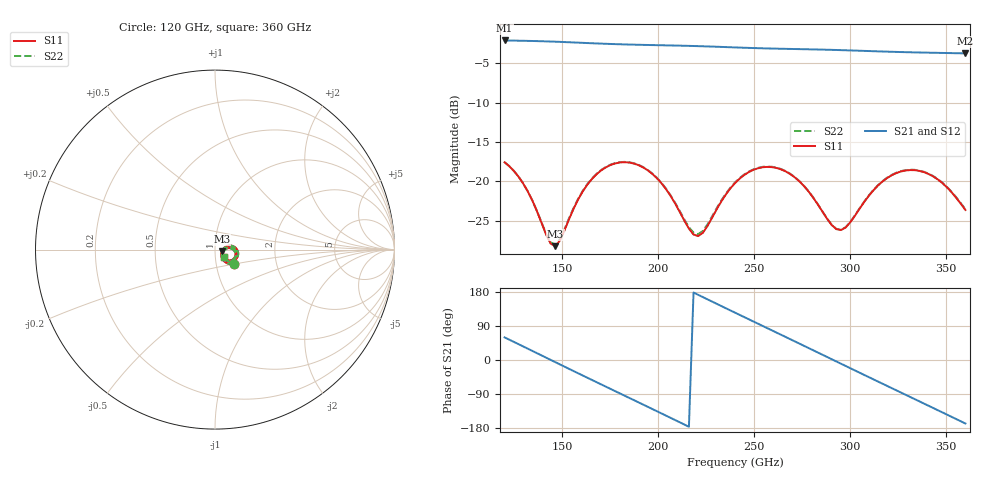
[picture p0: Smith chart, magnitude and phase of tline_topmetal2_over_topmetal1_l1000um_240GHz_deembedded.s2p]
! Created with skrf 2.2.0 (http://scikit-rf.org).
# GHz S DB R 50.0
! Port[1] = P1
! Port[2] = P2
!freq dBS11 angS11 dBS21 angS21 dBS12 angS12 dBS22 angS22
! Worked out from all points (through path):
!   101 points, 120 GHz to 360 GHz, reference 50 ohm
!   highest |S21| = -2.10 dB at 120 GHz (marker M1); lowest = -3.7 dB at 360 GHz (marker M2)
!   group delay of S21, straight-line fit = 6.79 ps
!   lowest |S11| = -28.2 dB at 146.4 GHz (marker M3), VSWR 1.08, Z = 53.9 - j1.03 ohm
!   |S11| at or under -10 dB: start of sweep to end of sweep
!   |S22| runs from -28.0 to -17.5 dB; largest |S21 - S12| = 1.2e-13
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120  -17.57 -36.3  -2.10 59.6  -2.10 59.6  -17.57 -36.4
134.4  -22.41 -52.4  -2.17 24.1  -2.17 24.1  -22.39 -52.1
146.4  -28.23 -14.2  -2.26 -5.7  -2.26 -5.7  -28.03 -14.2
160.8  -21.23 15.4  -2.41 -41.2  -2.41 -41.2  -21.16 14.7
170.4  -18.58 3.9  -2.50 -64.7  -2.50 -64.7  -18.53 3.2
180  -17.60 -11.3  -2.59 -88.0  -2.59 -88.0  -17.55 -11.9
189.6  -17.92 -26.8  -2.65 -111.4  -2.65 -111.4  -17.88 -27.3
201.6  -20.21 -42.6  -2.71 -140.8  -2.71 -140.8  -20.15 -42.9
211.2  -23.86 -44.3  -2.76 -164.3  -2.76 -164.3  -23.75 -44.4
220.8  -26.95 -15.4  -2.82 172.1  -2.82 172.1  -26.70 -16.1
230.4  -23.57 10.2  -2.90 148.5  -2.90 148.5  -23.42 8.7
240  -20.22 6.9  -2.98 125.0  -2.98 125.0  -20.13 5.4
249.6  -18.53 -5.4  -3.06 101.6  -3.06 101.6  -18.47 -6.7
259.2  -18.19 -19.8  -3.13 78.2  -3.13 78.2  -18.14 -21.1
268.8  -19.08 -33.4  -3.18 54.9  -3.18 54.9  -19.03 -34.6
280.8  -22.09 -43.2  -3.24 25.5  -3.24 25.5  -22.06 -44.4
295.2  -26.18 -16.4  -3.33 -9.8  -3.33 -9.8  -26.14 -17.5
307.2  -22.65 6.0  -3.43 -39.1  -3.43 -39.1  -22.60 4.9
321.6  -19.22 -4.6  -3.54 -74.1  -3.54 -74.1  -19.17 -5.7
338.4  -18.82 -27.3  -3.64 -114.9  -3.64 -114.9  -18.78 -28.4
350.4  -20.75 -40.3  -3.70 -144.1  -3.70 -144.1  -20.70 -41.2
360  -23.63 -40.4  -3.75 -167.6  -3.75 -167.6  -23.54 -41.1
